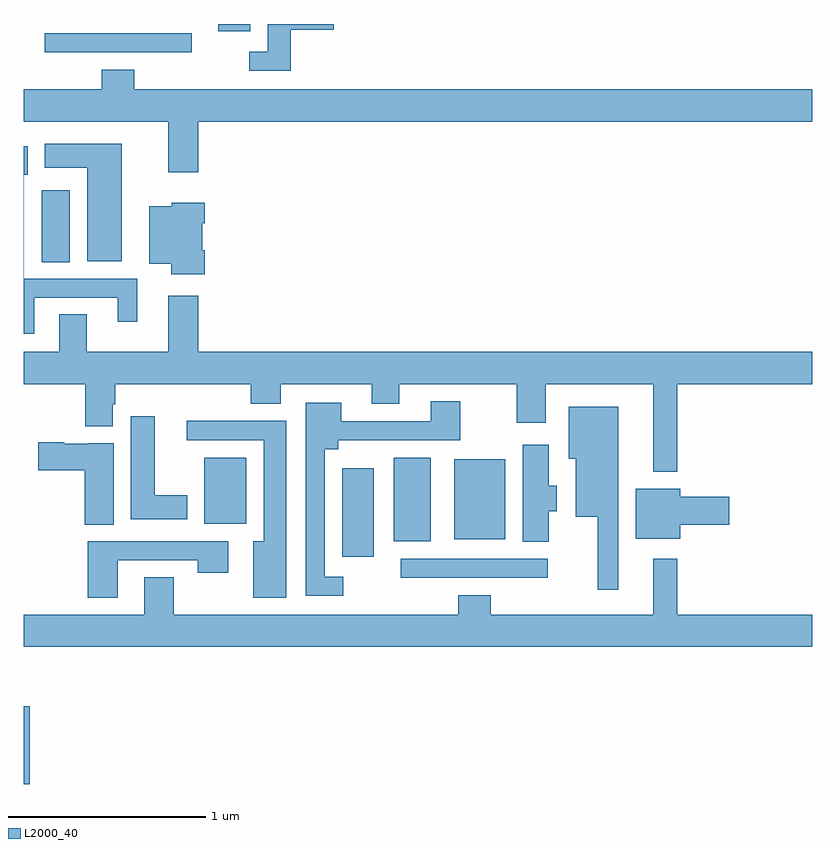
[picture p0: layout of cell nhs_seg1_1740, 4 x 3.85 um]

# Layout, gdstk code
import gdstk
lib = gdstk.Library(unit=1e-6, precision=1e-09)
def R(c, l, rs):  # rectangles x0, y0, x1, y1
    for r in rs: c.add(gdstk.rectangle(r[:2], r[2:], *l))
def P(c, l, *ps):  # polygons
    for p in ps: c.add(gdstk.Polygon(p, *l))
L2000_40 = (2000, 40)

nhs_seg1_1740 = lib.new_cell('nhs_seg1_1740')
R(nhs_seg1_1740, L2000_40, [(205,576.345,205.031,576.739), (206.913,577.392,207.658,577.488), (206.615,577.497,206.776,577.945), (206.876,577.577,207.064,577.999), (207.185,577.586,207.442,577.993), (205.916,577.664,206.128,577.999), (205.091,578.992,205.234,579.355), (205.107,580.056,205.852,580.152), (205.988,580.161,206.149,580.199)])
P(nhs_seg1_1740, L2000_40, [(206.354,580.169),(206.572,580.169),(206.572,580.199),(206.237,580.199),(206.237,580.059),(206.145,580.059),(206.145,579.963),(206.354,579.963)],
  [(205.886,579.704),(209,579.704),(209,579.868),(205.562,579.868),(205.562,579.967),(205.397,579.967),(205.397,579.868),(205,579.868),(205,579.704),(205.733,579.704),(205.733,579.447),(205.886,579.447)],
  [(205.498,579.592),(205.106,579.592),(205.106,579.47),(205.322,579.47),(205.322,578.996),(205.498,578.996)],
  [(205.054,578.811),(205.478,578.811),(205.478,578.688),(205.576,578.688),(205.576,578.907),(205.002,578.907),(205.002,579.435),(205.021,579.435),(205.021,579.58),(205,579.58),(205,578.627),(205.054,578.627)],
  [(205.919,579.052),(205.906,579.052),(205.906,579.188),(205.919,579.188),(205.919,579.292),(205.752,579.292),(205.752,579.274),(205.637,579.274),(205.637,578.984),(205.748,578.984),(205.748,578.93),(205.919,578.93)],
  [(208.315,578.372),(209,578.372),(209,578.536),(205.886,578.536),(205.886,578.821),(205.733,578.821),(205.733,578.536),(205.321,578.536),(205.321,578.726),(205.181,578.726),(205.181,578.536),(205,578.536),(205,578.372),(205.313,578.372),(205.313,578.159),(205.453,578.159),(205.453,578.271),(205.466,578.271),(205.466,578.372),(206.153,578.372),(206.153,578.273),(206.305,578.273),(206.305,578.372),(206.765,578.372),(206.765,578.273),(206.905,578.273),(206.905,578.372),(207.502,578.372),(207.502,578.178),(207.649,578.178),(207.649,578.372),(208.193,578.372),(208.193,577.928),(208.315,577.928)],
  [(206.62,577.395),(206.526,577.395),(206.526,578.042),(206.596,578.042),(206.596,578.088),(207.213,578.088),(207.213,578.287),(207.065,578.287),(207.065,578.184),(206.611,578.184),(206.611,578.278),(206.43,578.278),(206.43,577.299),(206.62,577.299)],
  [(208.015,578.257),(207.764,578.257),(207.764,577.994),(207.8,577.994),(207.8,577.7),(207.911,577.7),(207.911,577.329),(208.015,577.329)],
  [(205.831,577.81),(205.666,577.81),(205.666,578.209),(205.544,578.209),(205.544,577.688),(205.831,577.688)],
  [(206.332,578.186),(205.827,578.186),(205.827,578.088),(206.219,578.088),(206.219,577.576),(206.165,577.576),(206.165,577.29),(206.332,577.29)],
  [(205.456,578.074),(205.326,578.074),(205.326,578.071),(205.206,578.071),(205.206,578.079),(205.074,578.079),(205.074,577.937),(205.31,577.937),(205.31,577.66),(205.456,577.66)],
  [(207.664,577.727),(207.703,577.727),(207.703,577.857),(207.664,577.857),(207.664,578.065),(207.53,578.065),(207.53,577.573),(207.664,577.573)],
  [(208.33,577.66),(208.579,577.66),(208.579,577.802),(208.33,577.802),(208.33,577.843),(208.103,577.843),(208.103,577.589),(208.33,577.589)],
  [(205.477,577.479),(205.882,577.479),(205.882,577.416),(206.038,577.416),(206.038,577.575),(205.325,577.575),(205.325,577.29),(205.477,577.29)],
  [(209,577.204),(208.315,577.204),(208.315,577.486),(208.193,577.486),(208.193,577.204),(207.368,577.204),(207.368,577.303),(207.203,577.303),(207.203,577.204),(205.761,577.204),(205.761,577.394),(205.613,577.394),(205.613,577.204),(205,577.204),(205,577.04),(209,577.04)])

lib.write_gds('nhs_seg1_1740.gds')
